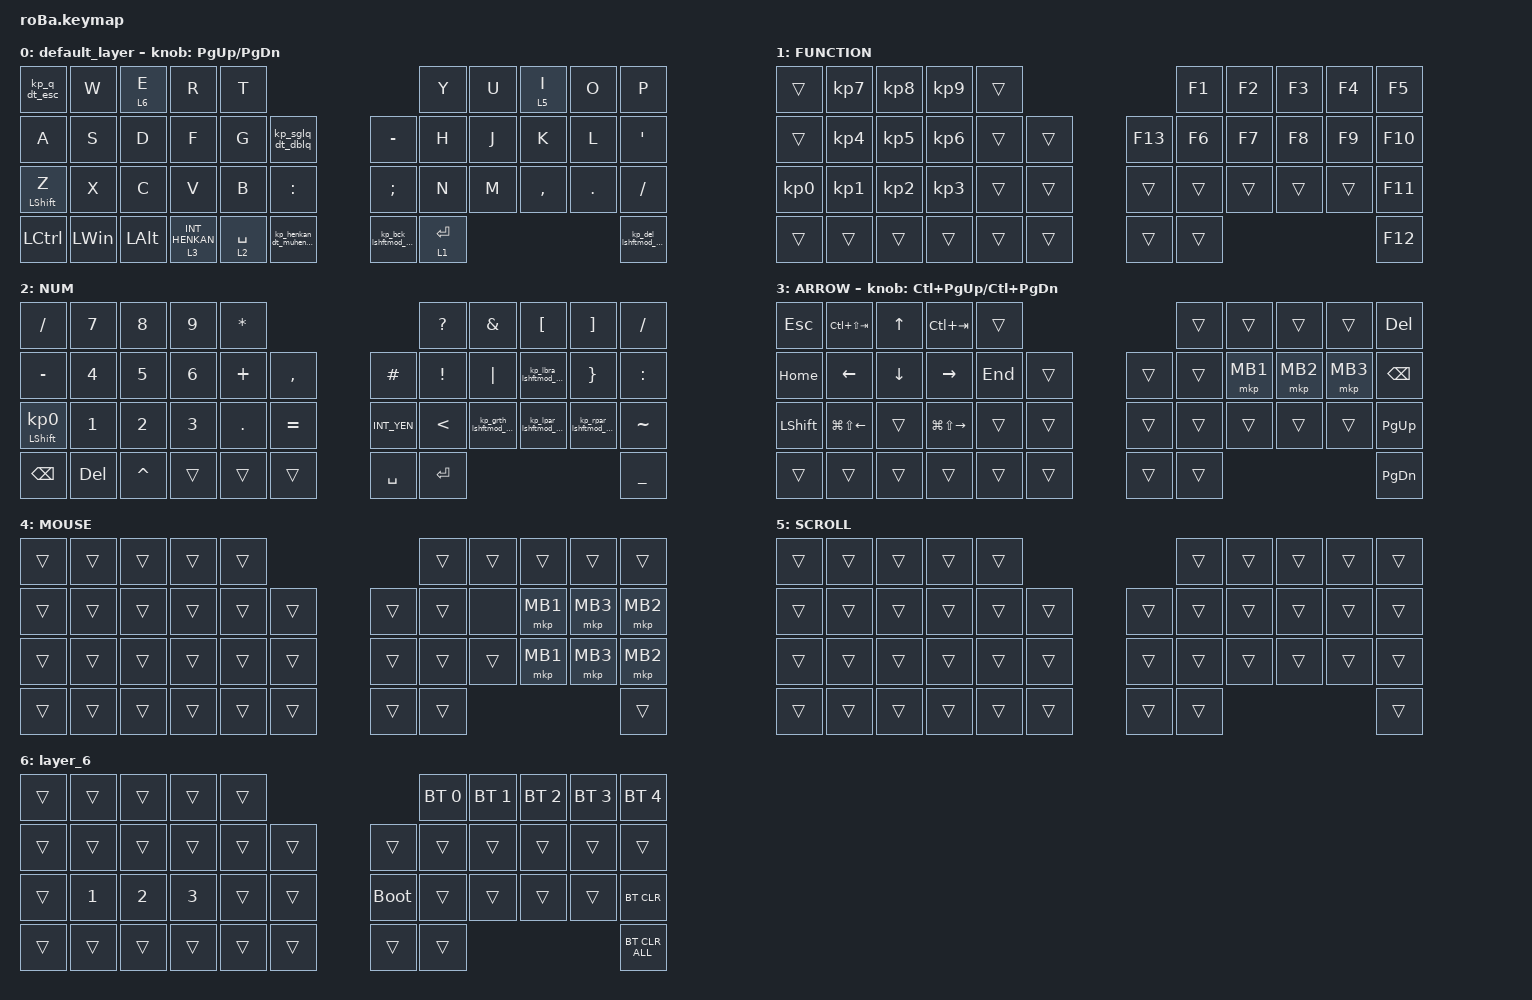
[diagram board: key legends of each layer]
#include <behaviors.dtsi>
#include <dt-bindings/zmk/bt.h>
#include <dt-bindings/zmk/keys.h>
#include <dt-bindings/zmk/pointing.h>

&mt {
    flavor = "balanced";
    quick-tap-ms = <0>;
};

&trackball {
    automouse-layer = <4>;
    scroll-layers = <5>;

    // arrows {
    //     layers = <3>;
    //     bindings =
    //         <&kp RIGHT_ARROW>,
    //         <&kp LEFT_ARROW>,
    //         <&kp UP_ARROW>,
    //         <&kp DOWN_ARROW>;
    //     tick = <10>;
    //     wait-ms = <5>;
    //     tap-ms = <5>;
    // };
};

/ {
    combos {
        compatible = "zmk,combos";

        tab {
            bindings = <&kp TAB>;
            key-positions = <11 12>;
        };

        shift_tab {
            bindings = <&kp LS(TAB)>;
            key-positions = <12 13>;
        };

        muhennkann {
            bindings = <&to_layer_0 INT_MUHENKAN>;
            key-positions = <11 10>;
        };

        double_quotation {
            bindings = <&kp DOUBLE_QUOTES>;
            key-positions = <20 21>;
        };

        eq {
            bindings = <&kp EQUAL>;
            key-positions = <24 25>;
        };
    };

    macros {
        to_layer_0: to_layer_0 {
            compatible = "zmk,behavior-macro-one-param";
            #binding-cells = <1>;
            bindings = <&to 0 &macro_param_1to1 &kp MACRO_PLACEHOLDER>;
            label = "TO_LAYER_0";
        };
    };

    behaviors {
        lt_to_layer_0: lt_to_layer_0 {
            compatible = "zmk,behavior-hold-tap";
            label = "LAYER_TAP_TO_0";
            bindings = <&mo>, <&to_layer_0>;

            #binding-cells = <2>;
            tapping-term-ms = <200>;
        };

        kp_q_dt_esc: kp_q_dt_esc {
            compatible = "zmk,behavior-tap-dance";
            label = "KP_Q_DT_ESC";
            #binding-cells = <0>;
            bindings = <&kp Q>, <&gresc>;
        };

        kp_lbra_lshftmod_uparw: kp_lbra_lshftmod_uparw {
            compatible = "zmk,behavior-mod-morph";
            label = "KP_LBRA_LSHFTMOD_UPARW";
            bindings = <&kp LEFT_BRACE>, <&kp UP_ARROW>;

            #binding-cells = <0>;
            mods = <(MOD_LSFT)>;
        };

        kp_grth_lshftmod_larw: kp_grth_lshftmod_larw {
            compatible = "zmk,behavior-mod-morph";
            label = "KP_GRTH_LSHFTMOD_LARW";
            bindings = <&kp GREATER_THAN>, <&kp LEFT_ARROW>;

            #binding-cells = <0>;
            mods = <(MOD_LSFT)>;
        };

        kp_lpar_lshftmod_dwarw: kp_lpar_lshftmod_dwarw {
            compatible = "zmk,behavior-mod-morph";
            label = "KP_LPAR_LSHFTMOD_DWARW";
            bindings = <&kp LEFT_PARENTHESIS>, <&kp DOWN_ARROW>;

            #binding-cells = <0>;
            mods = <(MOD_LSFT)>;
        };

        kp_rpar_lshftmod_rarw: kp_rpar_lshftmod_rarw {
            compatible = "zmk,behavior-mod-morph";
            label = "KP_RPAR_LSHFTMOD_RARW";
            bindings = <&kp RIGHT_PARENTHESIS>, <&kp RIGHT_ARROW>;

            #binding-cells = <0>;
            mods = <(MOD_LSFT)>;
        };

        kp_bck_lshftmod_home: kp_bck_lshftmod_home {
            compatible = "zmk,behavior-mod-morph";
            label = "KP_BCK_LSHFTMOD_HOME";
            bindings = <&kp BACKSPACE>, <&kp HOME>;

            #binding-cells = <0>;
            mods = <(MOD_LSFT)>;
        };

        kp_del_lshftmod_end: kp_del_lshftmod_end {
            compatible = "zmk,behavior-mod-morph";
            label = "KP_DEL_LSHFTMOD_END";
            bindings = <&kp DELETE>, <&kp END>;

            #binding-cells = <0>;
            mods = <(MOD_LSFT)>;
        };

        kp_sglq_dt_dblq: kp_sglq_dt_dblq {
            compatible = "zmk,behavior-tap-dance";
            label = "KP_SGLQ_DT_DBLQ";
            #binding-cells = <0>;
            bindings = <&kp SINGLE_QUOTE>, <&kp DOUBLE_QUOTES>;
        };

        kp_henkan_dt_muhenkan: kp_henkan_dt_muhenkan {
            compatible = "zmk,behavior-tap-dance";
            label = "KP_HENKAN_DT_MUHENKAN";
            #binding-cells = <0>;
            bindings = <&kp INT_HENKAN>, <&kp INT_MUHENKAN>;
        };
    };

    keymap {
        compatible = "zmk,keymap";

        default_layer {
            bindings = <
&kp_q_dt_esc      &kp W         &lt 6 E       &kp R                        &kp T                                                           &kp Y        &kp U  &lt 5 I    &kp O    &kp P
&kp A             &kp S         &kp D         &kp F                        &kp G        &kp_sglq_dt_dblq            &kp MINUS              &kp H        &kp J  &kp K      &kp L    &kp SQT
&mt LEFT_SHIFT Z  &kp X         &kp C         &kp V                        &kp B        &kp COLON                   &kp SEMICOLON          &kp N        &kp M  &kp COMMA  &kp DOT  &kp SLASH
&kp LCTRL         &kp LEFT_WIN  &kp LEFT_ALT  &lt_to_layer_0 3 INT_HENKAN  &lt 2 SPACE  &kp_henkan_dt_muhenkan      &kp_bck_lshftmod_home  &lt 1 ENTER                             &kp_del_lshftmod_end
            >;

            sensor-bindings = <&inc_dec_kp PG_UP PAGE_DOWN>;
        };

        FUNCTION {
            bindings = <
&trans           &kp KP_NUMBER_7  &kp KP_NUMBER_8  &kp KP_NUMBER_9  &trans                       &kp F1  &kp F2  &kp F3  &kp F4  &kp F5
&trans           &kp KP_NUMBER_4  &kp KP_NUMBER_5  &kp KP_NUMBER_6  &trans  &trans      &kp F13  &kp F6  &kp F7  &kp F8  &kp F9  &kp F10
&kp KP_NUMBER_0  &kp KP_NUMBER_1  &kp KP_NUMBER_2  &kp KP_NUMBER_3  &trans  &trans      &trans   &trans  &trans  &trans  &trans  &kp F11
&trans           &trans           &trans           &trans           &trans  &trans      &trans   &trans                          &kp F12
            >;
        };

        NUM {
            bindings = <
&kp SLASH                   &kp N7        &kp N8        &kp N9  &kp ASTRK                               &kp QUESTION     &kp AMPERSAND           &kp LEFT_BRACKET         &kp RIGHT_BRACKET       &kp SLASH
&kp MINUS                   &kp N4        &kp NUMBER_5  &kp N6  &kp PLUS    &kp COMMA      &kp HASH     &kp EXCLAMATION  &kp PIPE                &kp_lbra_lshftmod_uparw  &kp RIGHT_BRACE         &kp COLON
&mt LEFT_SHIFT KP_NUMBER_0  &kp NUMBER_1  &kp N2        &kp N3  &kp PERIOD  &kp EQUAL      &kp INT_YEN  &kp LESS_THAN    &kp_grth_lshftmod_larw  &kp_lpar_lshftmod_dwarw  &kp_rpar_lshftmod_rarw  &kp TILDE
&kp BACKSPACE               &kp DELETE    &kp CARET     &trans  &trans      &trans         &kp SPACE    &kp RETURN                                                                                &kp UNDER
            >;
        };

        ARROW {
            bindings = <
&kp ESCAPE      &kp LC(LS(TAB))         &kp UP_ARROW    &kp LC(TAB)              &trans                       &trans  &trans    &trans    &trans    &kp DELETE
&kp HOME        &kp LEFT_ARROW          &kp DOWN_ARROW  &kp RIGHT_ARROW          &kp END  &trans      &trans  &trans  &mkp MB1  &mkp MB2  &mkp MB3  &kp BACKSPACE
&kp LEFT_SHIFT  &kp LG(LS(LEFT_ARROW))  &trans          &kp LG(LS(RIGHT_ARROW))  &trans   &trans      &trans  &trans  &trans    &trans    &trans    &kp PAGE_UP
&trans          &trans                  &trans          &trans                   &trans   &trans      &trans  &trans                                &kp PAGE_DOWN
            >;

            sensor-bindings = <&inc_dec_kp LC(PAGE_UP) LC(PAGE_DOWN)>;
        };

        MOUSE {
            bindings = <
&trans  &trans  &trans  &trans  &trans                      &trans  &trans  &trans    &trans    &trans
&trans  &trans  &trans  &trans  &trans  &trans      &trans  &trans  &none   &mkp MB1  &mkp MB3  &mkp MB2
&trans  &trans  &trans  &trans  &trans  &trans      &trans  &trans  &trans  &mkp MB1  &mkp MB3  &mkp MB2
&trans  &trans  &trans  &trans  &trans  &trans      &trans  &trans                              &trans
            >;
        };

        SCROLL {
            bindings = <
&trans  &trans  &trans  &trans  &trans                      &trans  &trans  &trans  &trans  &trans
&trans  &trans  &trans  &trans  &trans  &trans      &trans  &trans  &trans  &trans  &trans  &trans
&trans  &trans  &trans  &trans  &trans  &trans      &trans  &trans  &trans  &trans  &trans  &trans
&trans  &trans  &trans  &trans  &trans  &trans      &trans  &trans                          &trans
            >;
        };

        layer_6 {
            bindings = <
&trans  &trans        &trans        &trans        &trans                           &bt BT_SEL 0  &bt BT_SEL 1  &bt BT_SEL 2  &bt BT_SEL 3  &bt BT_SEL 4
&trans  &trans        &trans        &trans        &trans  &trans      &trans       &trans        &trans        &trans        &trans        &trans
&trans  &kp NUMBER_1  &kp NUMBER_2  &kp NUMBER_3  &trans  &trans      &bootloader  &trans        &trans        &trans        &trans        &bt BT_CLR
&trans  &trans        &trans        &trans        &trans  &trans      &trans       &trans                                                  &bt BT_CLR_ALL
            >;
        };
    };
};
